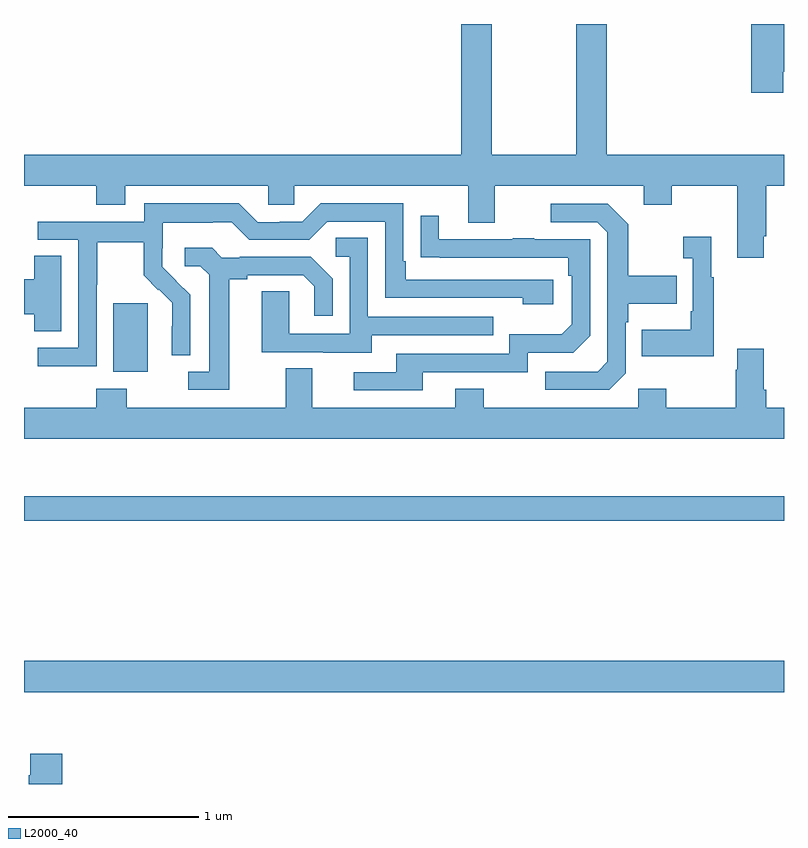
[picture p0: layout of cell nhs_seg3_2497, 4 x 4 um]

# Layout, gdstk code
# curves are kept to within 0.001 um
import gdstk
lib = gdstk.Library(unit=1e-6, precision=1e-09)
def R(c, l, rs):  # rectangles x0, y0, x1, y1
    for r in rs: c.add(gdstk.rectangle(r[:2], r[2:], *l))
def P(c, l, *ps):  # polygons
    for p in ps: c.add(gdstk.Polygon(p, *l))
L2000_40 = (2000, 40)

nhs_seg3_2497 = lib.new_cell('nhs_seg3_2497')
R(nhs_seg3_2497, L2000_40, [(239,732.884,243,733.048), (239,733.786,243,733.915), (239.471,734.57,239.65,734.931)])
P(nhs_seg3_2497, L2000_40, [(242.995,736.15),(243,736.15),(243,736.4),(242.828,736.4),(242.828,736.038),(242.995,736.038)],
  [(241.301,736.4),(241.301,735.712),(239,735.712),(239,735.548),(239.381,735.548),(239.381,735.449),(239.533,735.449),(239.533,735.548),(240.285,735.548),(240.285,735.45),(240.423,735.45),(240.423,735.548),(241.337,735.548),(241.337,735.354),(241.477,735.354),(241.477,735.548),(242.261,735.548),(242.261,735.449),(242.409,735.449),(242.409,735.548),(242.753,735.548),(242.753,735.171),(242.893,735.171),(242.893,735.283),(242.906,735.283),(242.906,735.548),(243,735.548),(243,735.712),(242.066,735.712),(242.066,736.4),(241.906,736.4),(241.906,735.712),(241.461,735.712),(241.461,736.4)],
  [(239.382,735.028),(239.385,735.028),(239.385,735.252),(239.629,735.252),(239.629,735.077),(239.706,735),(239.709,735.003),(239.78,734.933),(239.78,734.81),(239.778,734.81),(239.778,734.656),(239.874,734.656),(239.874,734.974),(239.728,735.122),(239.728,735.219),(239.73,735.219),(239.73,735.353),(239.993,735.353),(239.993,735.357),(240.093,735.357),(240.186,735.264),(240.501,735.264),(240.597,735.36),(240.9,735.36),(240.9,734.958),(241.625,734.958),(241.625,734.924),(241.786,734.924),(241.786,735.054),(241.009,735.054),(241.009,735.151),(240.996,735.151),(240.996,735.456),(240.561,735.456),(240.465,735.36),(240.347,735.36),(240.347,735.357),(240.231,735.357),(240.131,735.457),(239.634,735.457),(239.634,735.36),(239.073,735.36),(239.073,735.264),(239.286,735.264),(239.286,734.697),(239.073,734.697),(239.073,734.599),(239.382,734.599)],
  [(242.166,734.562),(242.166,734.831),(242.179,734.831),(242.179,734.927),(242.435,734.927),(242.435,735.075),(242.179,735.075),(242.179,735.347),(242.073,735.453),(241.773,735.453),(241.773,735.357),(242.016,735.357),(242.07,735.303),(242.07,734.622),(242.019,734.571),(241.743,734.571),(241.743,734.475),(242.079,734.475)],
  [(241.099,734.568),(241.65,734.568),(241.65,734.67),(241.89,734.67),(241.98,734.76),(241.98,735.267),(241.685,735.267),(241.685,735.272),(241.573,735.272),(241.573,735.267),(241.183,735.267),(241.183,735.391),(241.087,735.391),(241.087,735.172),(241.864,735.171),(241.864,735.074),(241.884,735.074),(241.884,734.82),(241.831,734.767),(241.554,734.767),(241.554,734.664),(240.959,734.664),(240.959,734.568),(240.735,734.568),(240.735,734.472),(241.099,734.472)],
  [(242.629,735.067),(242.617,735.067),(242.617,735.28),(242.469,735.28),(242.469,735.167),(242.52,735.167),(242.52,734.887),(242.508,734.887),(242.508,734.791),(242.251,734.791),(242.251,734.651),(242.629,734.651)],
  [(240.829,734.763),(241.469,734.763),(241.469,734.859),(240.81,734.859),(240.81,735.275),(240.642,735.275),(240.642,735.174),(240.714,735.174),(240.714,734.769),(240.396,734.769),(240.396,734.993),(240.251,734.993),(240.251,734.673),(240.575,734.673),(240.575,734.669),(240.829,734.669)],
  [(240.079,735.056),(240.175,735.056),(240.175,735.078),(240.47,735.078),(240.527,735.021),(240.527,734.865),(240.624,734.865),(240.624,735.058),(240.508,735.174),(240.136,735.174),(240.136,735.171),(240.042,735.171),(239.99,735.223),(239.847,735.223),(239.847,735.126),(239.928,735.126),(239.975,735.079),(239.975,734.571),(239.865,734.571),(239.865,734.475),(240.079,734.475)],
  [(239.197,735.179),(239.054,735.179),(239.054,735.056),(239,735.056),(239,734.873),(239.054,734.873),(239.054,734.782),(239.197,734.782)],
  [(240.377,734.588),(240.377,734.38),(239.541,734.38),(239.541,734.479),(239.381,734.479),(239.381,734.38),(239,734.38),(239,734.216),(243,734.216),(243,734.38),(242.906,734.38),(242.906,734.476),(242.893,734.476),(242.893,734.692),(242.753,734.692),(242.753,734.579),(242.746,734.579),(242.746,734.38),(242.379,734.38),(242.379,734.479),(242.232,734.479),(242.232,734.38),(241.419,734.38),(241.419,734.479),(241.271,734.479),(241.271,734.38),(240.517,734.38),(240.517,734.588)],
  [(239.201,732.559),(239.033,732.559),(239.033,732.446),(239.026,732.446),(239.026,732.4),(239.201,732.4)])

lib.write_gds('nhs_seg3_2497.gds')
